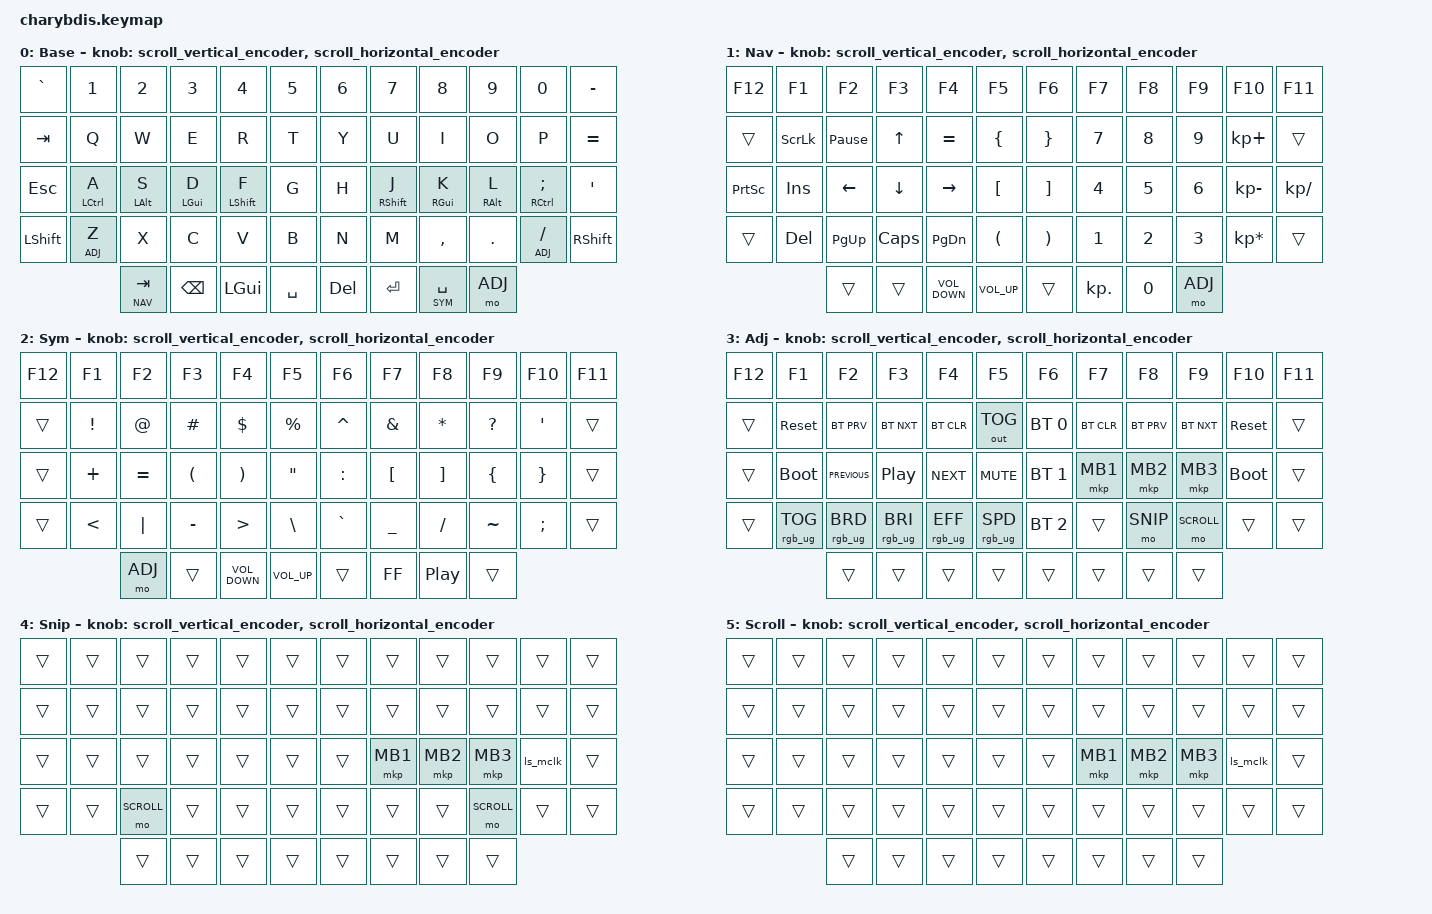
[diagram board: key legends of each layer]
// ═══════════════════════════════════════════════════════════════════════════════
//  Charybdis 4x6 – Keymap fusionné
//  • Config hardware  : keymapB (encodeurs, mmv, msc, zip scalers)
//  • Structure layers : keymapA (BASE / NAV / SYM / ADJ / SNIP / SCROLL)
//  • HRM              : hml / hmr balanced (meilleur que mt tap-preferred)
//  • Extras           : blt, ls_mclk, RGB dans ADJ, studio_unlock, combos
// ═══════════════════════════════════════════════════════════════════════════════

#include <dt-bindings/zmk/mouse.h>
#include <behaviors/mouse_keys.dtsi>
#include <input/processors.dtsi>
#include <zephyr/dt-bindings/input/input-event-codes.h>
#include <behaviors.dtsi>
#include <dt-bindings/zmk/bt.h>
#include <dt-bindings/zmk/keys.h>
#include <dt-bindings/zmk/outputs.h>
#include <dt-bindings/zmk/pointing.h>
#include <dt-bindings/zmk/rgb.h>

// ─── Tuning trackball ─────────────────────────────────────────────────────────
#define ZMK_POINTING_DEFAULT_MOVE_VAL 1000   // vitesse deplacement curseur
#define ZMK_POINTING_DEFAULT_SCRL_VAL 12     // vitesse scroll

// ─── Indices des layers ───────────────────────────────────────────────────────
#define BASE   0
#define NAV    1
#define SYM    2
#define ADJ    3
#define SNIP   4
#define SCROLL 5

// ─── Calibration trackball (depuis keymapB) ───────────────────────────────────
&mmv_input_listener { input-processors = <&zip_xy_scaler 2 1>; };
&msc_input_listener { input-processors = <&zip_scroll_scaler 2 1>; };

&msc {
    acceleration-exponent = <0>;
    time-to-max-speed-ms  = <100>;
    delay-ms              = <0>;
};

&mmv {
    time-to-max-speed-ms  = <300>;
    acceleration-exponent = <1>;
    trigger-period-ms     = <16>;
};

// ─── Tuning global lt (layer-tap) ─────────────────────────────────────────────
&lt {
    tapping-term-ms = <200>;
    flavor          = "balanced";
    quick-tap-ms    = <150>;
};

/ {

    // ─── Comportements des encodeurs rotatifs (depuis keymapB) ───────────────
    scroll_vertical_encoder: scroll_vertical_encoder {
        compatible = "zmk,behavior-sensor-rotate";
        #sensor-binding-cells = <0>;
        bindings = <&msc SCRL_DOWN>, <&msc SCRL_UP>;
        tap-ms = <100>;
    };

    scroll_horizontal_encoder: scroll_horizontal_encoder {
        compatible = "zmk,behavior-sensor-rotate";
        #sensor-binding-cells = <0>;
        bindings = <&msc SCRL_LEFT>, <&msc SCRL_RIGHT>;
        tap-ms = <100>;
    };

    // ─── Behaviors personnalises ──────────────────────────────────────────────
    behaviors {

        // blt : layer-tap "tap-preferred" pour le cluster de pouces
        // -> tap = caractere, hold = layer momentane
        blt: blt {
            compatible = "zmk,behavior-hold-tap";
            #binding-cells = <2>;
            flavor = "tap-preferred";
            tapping-term-ms = <200>;
            quick-tap-ms = <300>;
            require-prior-idle-ms = <100>;
            bindings = <&mo>, <&kp>;
        };

        // hml : Home Row Mod - main GAUCHE
        // S'active uniquement quand une touche du cote DROIT est pressee,
        // ce qui evite les faux positifs en frappe rapide.
        hml: home_row_mod_left {
            compatible = "zmk,behavior-hold-tap";
            #binding-cells = <2>;
            flavor = "balanced";
            require-prior-idle-ms = <150>;
            tapping-term-ms = <280>;
            quick-tap-ms = <175>;
            bindings = <&kp>, <&kp>;
            // Positions cote droit : colonnes 6-11, toutes rangees + pouces droits
            hold-trigger-key-positions = <
                6  7  8  9  10 11
                18 19 20 21 22 23
                30 31 32 33 34 35
                42 43 44 45 46 47
                53 54 55
            >;
            hold-trigger-on-release;
        };

        // hmr : Home Row Mod - main DROITE
        // S'active uniquement quand une touche du cote GAUCHE est pressee.
        hmr: home_row_mod_right {
            compatible = "zmk,behavior-hold-tap";
            #binding-cells = <2>;
            flavor = "balanced";
            require-prior-idle-ms = <150>;
            tapping-term-ms = <280>;
            quick-tap-ms = <175>;
            bindings = <&kp>, <&kp>;
            // Positions cote gauche : colonnes 0-5, toutes rangees + pouces gauches
            hold-trigger-key-positions = <
                0  1  2  3  4  5
                12 13 14 15 16 17
                24 25 26 27 28 29
                36 37 38 39 40 41
                48 49 50 51 52
            >;
            hold-trigger-on-release;
        };

    };

    // ─── Macros ───────────────────────────────────────────────────────────────
    macros {

        // ls_mclk : Shift + Middle Click
        // Utile pour ouvrir un lien dans un nouvel onglet (Shift+clic molette)
        ls_mclk: ls_mclk {
            compatible = "zmk,behavior-macro";
            wait-ms = <0>;
            tap-ms = <10>;
            #binding-cells = <0>;
            bindings =
                <&macro_press>,   <&kp LSHIFT>,
                <&macro_tap>,     <&mkp MCLK>,
                <&macro_release>, <&kp LSHIFT>;
        };

    };

    // ─── Combos ───────────────────────────────────────────────────────────────
    combos {
        compatible = "zmk,combos";

        // ESC : Q + W ensemble (positions 13 + 14)
        combo_esc {
            timeout-ms = <50>;
            key-positions = <13 14>;
            bindings = <&kp ESC>;
        };

        // CAPS LOCK : LSHIFT + RSHIFT (positions 36 + 47)
        combo_caps {
            timeout-ms = <60>;
            require-prior-idle-ms = <200>;
            key-positions = <36 47>;
            bindings = <&kp CAPS>;
        };

        // Studio Unlock : 3 touches du pouce droit (53 + 54 + 55)
        combo_studio_unlock {
            timeout-ms = <50>;
            key-positions = <53 54 55>;
            bindings = <&studio_unlock>;
        };

    };

    // ─── Keymap ───────────────────────────────────────────────────────────────
    keymap {
        compatible = "zmk,keymap";

        // ══════════════════════════════════════════════════════════════════════
        // Layer 0 - BASE
        // QWERTY avec Home Row Mods (hml/hmr)
        //
        // Rangee principale gauche :  A=CTRL  S=ALT  D=GUI  F=SHIFT
        // Rangee principale droite :  J=SHIFT K=GUI  L=ALT  ;=CTRL
        // Z et / : layer-tap vers ADJ (maintenir = layer ADJ)
        // ══════════════════════════════════════════════════════════════════════
        //
        // +--------+--------+--------+--------+--------+--------+  +--------+--------+--------+--------+--------+--------+
        // | GRAVE  |   1    |   2    |   3    |   4    |   5    |  |   6    |   7    |   8    |   9    |   0    | MINUS  |
        // +--------+--------+--------+--------+--------+--------+  +--------+--------+--------+--------+--------+--------+
        // |  TAB   |   Q    |   W    |   E    |   R    |   T    |  |   Y    |   U    |   I    |   O    |   P    | EQUAL  |
        // +--------+--------+--------+--------+--------+--------+  +--------+--------+--------+--------+--------+--------+
        // |  ESC   | A/CTL  | S/ALT  | D/GUI  | F/SFT  |   G    |  |   H    | J/SFT  | K/GUI  | L/ALT  | ;/CTL  |   '    |
        // +--------+--------+--------+--------+--------+--------+  +--------+--------+--------+--------+--------+--------+
        // | LSHFT  | Z[ADJ] |   X    |   C    |   V    |   B    |  |   N    |   M    |   ,    |   .    | /[ADJ] | RSHFT  |
        // +--------+--------+--------+--------+--------+--------+  +--------+--------+--------+--------+--------+--------+
        //          [lt(NAV)] [ BSPC ] [ LGUI ] [SPACE ] [ DEL  ]  [ ENTER ] [blt SYM] [mo ADJ]
        //
        BASE {
            display-name = "Base";
            bindings = <
&kp GRAVE   &kp N1        &kp N2       &kp N3        &kp N4         &kp N5      &kp N6   &kp N7         &kp N8         &kp N9        &kp N0           &kp MINUS
&kp TAB     &kp Q         &kp W        &kp E         &kp R          &kp T       &kp Y    &kp U          &kp I          &kp O         &kp P            &kp EQUAL
&kp ESC     &hml LCTRL A  &hml LALT S  &hml LGUI D   &hml LSHIFT F  &kp G       &kp H    &hmr RSHIFT J  &hmr RGUI K    &hmr RALT L   &hmr RCTRL SEMI  &kp APOS
&kp LSHIFT  &lt ADJ Z     &kp X        &kp C         &kp V          &kp B       &kp N    &kp M          &kp COMMA      &kp DOT       &lt ADJ SLASH    &kp RSHIFT
                          &lt NAV TAB  &kp BSPC      &kp LGUI       &kp SPACE   &kp DEL  &kp ENTER      &blt SYM SPACE &mo ADJ
            >;
            sensor-bindings = <&scroll_vertical_encoder>, <&scroll_horizontal_encoder>;
        };

        // ══════════════════════════════════════════════════════════════════════
        // Layer 1 - NAV
        // Navigation + Pave numerique + Touches de fonction F1-F12
        // ══════════════════════════════════════════════════════════════════════
        //
        // +--------+--------+--------+--------+--------+--------+  +--------+--------+--------+--------+--------+--------+
        // |  F12   |   F1   |   F2   |   F3   |   F4   |   F5   |  |   F6   |   F7   |   F8   |   F9   |  F10   |  F11   |
        // +--------+--------+--------+--------+--------+--------+  +--------+--------+--------+--------+--------+--------+
        // |        | SCRLCK | PAUSE  |   up   |   =    |   {    |  |   }    |   7    |   8    |   9    |  KP+   |        |
        // +--------+--------+--------+--------+--------+--------+  +--------+--------+--------+--------+--------+--------+
        // | PRTSCR |  INS   | left   |  down  | right  |   [    |  |   ]    |   4    |   5    |   6    |  KP-   |  KP/   |
        // +--------+--------+--------+--------+--------+--------+  +--------+--------+--------+--------+--------+--------+
        // |        |  DEL   | PG_UP  |  CAPS  | PG_DN  |   (    |  |   )    |   1    |   2    |   3    |  KP*   |        |
        // +--------+--------+--------+--------+--------+--------+  +--------+--------+--------+--------+--------+--------+
        //          [ (hold) ] [      ] [ VOL- ] [ VOL+ ] [      ]  [ KP_DOT] [   0   ] [mo ADJ]
        //
        NAV {
            display-name = "Nav";
            bindings = <
&kp F12          &kp F1          &kp F2           &kp F3             &kp F4           &kp F5      &kp F6    &kp F7    &kp F8  &kp F9  &kp F10          &kp F11
&trans           &kp SCROLLLOCK  &kp PAUSE_BREAK  &kp UP             &kp EQUAL        &kp LBRC    &kp RBRC  &kp N7    &kp N8  &kp N9  &kp KP_PLUS      &trans
&kp PRINTSCREEN  &kp INSERT      &kp LEFT         &kp DOWN           &kp RIGHT        &kp LBKT    &kp RBKT  &kp N4    &kp N5  &kp N6  &kp KP_MINUS     &kp KP_DIVIDE
&trans           &kp DEL         &kp PG_UP        &kp CAPS           &kp PG_DN        &kp LPAR    &kp RPAR  &kp N1    &kp N2  &kp N3  &kp KP_MULTIPLY  &trans
                 &trans          &trans           &kp C_VOLUME_DOWN  &kp C_VOLUME_UP  &trans      &kp KP_DOT &kp N0  &mo ADJ
            >;
            sensor-bindings = <&scroll_vertical_encoder>, <&scroll_horizontal_encoder>;
        };

        // ══════════════════════════════════════════════════════════════════════
        // Layer 2 - SYM
        // Symboles de programmation organises logiquement par paires
        //   Rangee 1 : caracteres speciaux   ! @ # $ %  |  ^ & * ? '
        //   Rangee 2 : operateurs/groupants  + = ( )  " |  : [ ] { }
        //   Rangee 3 : comparaison/divers    < | - > \  |  ` _ / ~ ;
        // ══════════════════════════════════════════════════════════════════════
        //
        // +--------+--------+--------+--------+--------+--------+  +--------+--------+--------+--------+--------+--------+
        // |  F12   |   F1   |   F2   |   F3   |   F4   |   F5   |  |   F6   |   F7   |   F8   |   F9   |  F10   |  F11   |
        // +--------+--------+--------+--------+--------+--------+  +--------+--------+--------+--------+--------+--------+
        // |        |   !    |   @    |   #    |   $    |   %    |  |   ^    |   &    |   *    |   ?    |   '    |        |
        // +--------+--------+--------+--------+--------+--------+  +--------+--------+--------+--------+--------+--------+
        // |        |   +    |   =    |   (    |   )    |   "    |  |   :    |   [    |   ]    |   {    |   }    |        |
        // +--------+--------+--------+--------+--------+--------+  +--------+--------+--------+--------+--------+--------+
        // |        |   <    |   |    |   -    |   >    |   \    |  |   `    |   _    |   /    |   ~    |   ;    |        |
        // +--------+--------+--------+--------+--------+--------+  +--------+--------+--------+--------+--------+--------+
        //          [mo ADJ ] [       ] [ VOL- ] [ VOL+ ] [      ]  [  C_FF ] [ C_PP  ] [ (hold)]
        //
        SYM {
            display-name = "Sym";
            bindings = <
&kp F12  &kp F1         &kp F2     &kp F3             &kp F4            &kp F5          &kp F6     &kp F7          &kp F8     &kp F9        &kp F10        &kp F11
&trans   &kp EXCL       &kp AT     &kp HASH           &kp DLLR          &kp PRCNT       &kp CARET  &kp AMPS        &kp STAR   &kp QUESTION  &kp SQT        &trans
&trans   &kp PLUS       &kp EQUAL  &kp LPAR           &kp RPAR          &kp DQT         &kp COLON  &kp LBKT        &kp RBKT   &kp LBRC      &kp RBRC       &trans
&trans   &kp LESS_THAN  &kp PIPE   &kp MINUS          &kp GREATER_THAN  &kp BACKSLASH   &kp GRAVE  &kp UNDERSCORE  &kp SLASH  &kp TILDE     &kp SEMICOLON  &trans
         &mo ADJ        &trans     &kp C_VOLUME_DOWN  &kp C_VOLUME_UP   &trans          &kp C_FF   &kp C_PP        &trans
            >;
            sensor-bindings = <&scroll_vertical_encoder>, <&scroll_horizontal_encoder>;
        };

        // ══════════════════════════════════════════════════════════════════════
        // Layer 3 - ADJ
        // Bluetooth + Media + RGB + Systeme + Acces SNIP/SCROLL
        //
        // Cote gauche  : controles BT sortants, sys_reset, bootloader, RGB
        // Cote droit   : selection profils BT, boutons souris, sys_reset, bootloader
        // Rangee basse : acces momentane aux layers SNIP (4) et SCROLL (5)
        // ══════════════════════════════════════════════════════════════════════
        //
        // +--------+--------+--------+--------+--------+--------+  +--------+--------+--------+--------+--------+--------+
        // |  F12   |   F1   |   F2   |   F3   |   F4   |   F5   |  |   F6   |   F7   |   F8   |   F9   |  F10   |  F11   |
        // +--------+--------+--------+--------+--------+--------+  +--------+--------+--------+--------+--------+--------+
        // |        |SYS_RST |BT_PRV  |BT_NXT  |BT_CLR  |OUT_TOG |  | BT_0   |BT_CLR  |BT_PRV  |BT_NXT  |SYS_RST |        |
        // +--------+--------+--------+--------+--------+--------+  +--------+--------+--------+--------+--------+--------+
        // |        | BOOT   | C_PRV  |  C_PP  | C_NXT  | C_MUTE |  | BT_1   |  MB1   |  MB2   |  MB3   |  BOOT  |        |
        // +--------+--------+--------+--------+--------+--------+  +--------+--------+--------+--------+--------+--------+
        // |        |RGB_TOG |RGB_BRD |RGB_BRI |RGB_EFF |RGB_SPD |  | BT_2   |        | mo SNIP|mo SCRL |        |        |
        // +--------+--------+--------+--------+--------+--------+  +--------+--------+--------+--------+--------+--------+
        //          [ (hold) ] [      ] [      ] [      ] [      ]  [       ] [       ] [ (hold)]
        //
        ADJ {
            display-name = "Adj";
            bindings = <
&kp F12  &kp F1           &kp F2          &kp F3            &kp F4           &kp F5           &kp F6        &kp F7      &kp F8      &kp F9      &kp F10      &kp F11
&trans   &sys_reset       &bt BT_PRV      &bt BT_NXT        &bt BT_CLR       &out OUT_TOG     &bt BT_SEL 0  &bt BT_CLR  &bt BT_PRV  &bt BT_NXT  &sys_reset   &trans
&trans   &bootloader      &kp C_PREVIOUS  &kp C_PLAY_PAUSE  &kp C_NEXT       &kp C_MUTE       &bt BT_SEL 1  &mkp MB1    &mkp MB2    &mkp MB3    &bootloader  &trans
&trans   &rgb_ug RGB_TOG  &rgb_ug RGB_BRD &rgb_ug RGB_BRI   &rgb_ug RGB_EFF  &rgb_ug RGB_SPD  &bt BT_SEL 2  &trans      &mo SNIP    &mo SCROLL  &trans       &trans
         &trans           &trans          &trans            &trans           &trans           &trans        &trans      &trans
            >;
            sensor-bindings = <&scroll_vertical_encoder>, <&scroll_horizontal_encoder>;
        };

        // ══════════════════════════════════════════════════════════════════════
        // Layer 4 - SNIP
        // Mode sniping du trackball (mouvement lent et precis)
        // Toutes les touches sont transparentes sauf les boutons souris
        // et mo SCROLL pour basculer en scroll depuis ce layer
        // ══════════════════════════════════════════════════════════════════════
        SNIP {
            display-name = "Snip";
            bindings = <
&trans  &trans  &trans      &trans  &trans  &trans  &trans  &trans    &trans    &trans     &trans    &trans
&trans  &trans  &trans      &trans  &trans  &trans  &trans  &trans    &trans    &trans     &trans    &trans
&trans  &trans  &trans      &trans  &trans  &trans  &trans  &mkp MB1  &mkp MB2  &mkp MB3   &ls_mclk  &trans
&trans  &trans  &mo SCROLL  &trans  &trans  &trans  &trans  &trans    &trans    &mo SCROLL &trans    &trans
        &trans  &trans      &trans  &trans  &trans  &trans  &trans    &trans
            >;
            sensor-bindings = <&scroll_vertical_encoder>, <&scroll_horizontal_encoder>;
        };

        // ══════════════════════════════════════════════════════════════════════
        // Layer 5 - SCROLL
        // Mode scroll du trackball
        // Le mouvement du trackball fait scroller la page au lieu de deplacer
        // le curseur. Boutons souris accessibles.
        // ══════════════════════════════════════════════════════════════════════
        SCROLL {
            display-name = "Scroll";
            bindings = <
&trans  &trans  &trans  &trans  &trans  &trans  &trans  &trans    &trans    &trans    &trans    &trans
&trans  &trans  &trans  &trans  &trans  &trans  &trans  &trans    &trans    &trans    &trans    &trans
&trans  &trans  &trans  &trans  &trans  &trans  &trans  &mkp MB1  &mkp MB2  &mkp MB3  &ls_mclk  &trans
&trans  &trans  &trans  &trans  &trans  &trans  &trans  &trans    &trans    &trans    &trans    &trans
        &trans  &trans  &trans  &trans  &trans  &trans  &trans    &trans
            >;
            sensor-bindings = <&scroll_vertical_encoder>, <&scroll_horizontal_encoder>;
        };

    };
};
